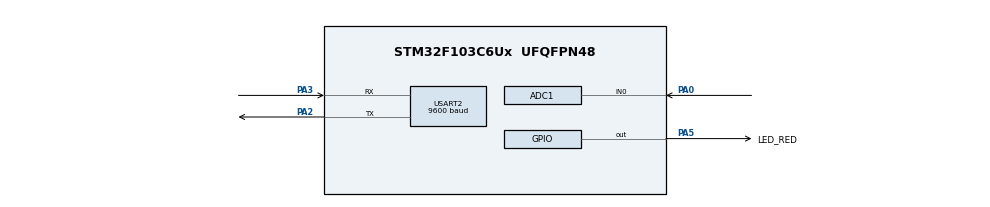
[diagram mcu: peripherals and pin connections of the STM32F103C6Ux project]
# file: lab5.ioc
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ADC1.Channel-0\#ChannelRegularConversion=ADC_CHANNEL_0
ADC1.ContinuousConvMode=ENABLE
ADC1.NbrOfConversionFlag=1
ADC1.Rank-0\#ChannelRegularConversion=1
ADC1.SamplingTime-0\#ChannelRegularConversion=ADC_SAMPLETIME_1CYCLE_5
ADC1.master=1
Mcu.Family=STM32F1
Mcu.Name=STM32F103C6Ux
Mcu.Package=UFQFPN48
NVIC.PriorityGroup=NVIC_PRIORITYGROUP_4
NVIC.TIM2_IRQn=true\:0\:0\:false\:false\:true\:true\:true
NVIC.USART2_IRQn=true\:0\:0\:false\:false\:true\:true\:true
PA0-WKUP.Signal=ADCx_IN0
PA2.Mode=Asynchronous
PA2.Signal=USART2_TX
PA3.Mode=Asynchronous
PA3.Signal=USART2_RX
PA5.GPIO_Label=LED_RED
PA5.Signal=GPIO_Output
ProjectManager.HeapSize=0x200
ProjectManager.StackSize=0x400
ProjectManager.TargetToolchain=STM32CubeIDE
RCC.APB1Freq_Value=8000000
RCC.APB2Freq_Value=8000000
SH.ADCx_IN0.0=ADC1_IN0,IN0
TIM2.Period=9
TIM2.Prescaler=7999
USART2.BaudRate=9600
USART2.VirtualMode=VM_ASYNC
VP_SYS_VS_ND.Mode=No_Debug
VP_TIM2_VS_ClockSourceINT.Mode=Internal
board=custom

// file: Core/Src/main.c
/* USER CODE BEGIN Header */
/**
  ******************************************************************************
  * @file           : main.c
  * @brief          : Main program body
  ******************************************************************************
  * @attention
  *
  * <h2><center>&copy; Copyright (c) 2022 STMicroelectronics.
  * All rights reserved.</center></h2>
  *
  * This software component is licensed by ST under BSD 3-Clause license,
  * the "License"; You may not use this file except in compliance with the
  * License. You may obtain a copy of the License at:
  *                        opensource.org/licenses/BSD-3-Clause
  *
  ******************************************************************************
  */
/* USER CODE END Header */
#include "main.h"

/* USER CODE BEGIN Includes */
#include "stdio.h"
#include "string.h"
#include "timer.h"
/* USER CODE END Includes */

ADC_HandleTypeDef hadc1;

TIM_HandleTypeDef htim2;

UART_HandleTypeDef huart2;

void SystemClock_Config(void);
static void MX_GPIO_Init(void);
static void MX_ADC1_Init(void);
static void MX_USART2_UART_Init(void);
static void MX_TIM2_Init(void);

/* USER CODE BEGIN 0 */
#define MAX_BUFFER_SIZE  30
uint8_t temp = 0;
uint8_t buffer[MAX_BUFFER_SIZE];
uint8_t index_buffer = 0;
uint8_t buffer_flag = 0;
#define INIT 0
#define BEGIN 1
#define R 2
#define S 3
#define T 4
#define O 9
#define K 6
#define END 7

int flag_RST = 0;
int flag_OK = 0;
uint32_t ADC_value = 0;
char str[40];
int state = INIT;
void HAL_UART_RxCpltCallback(UART_HandleTypeDef *huart){
	if(huart->Instance == USART2){

		//HAL_UART_Transmit(&huart2, &temp, 1, 50);
		buffer[index_buffer++] = temp;
		if(index_buffer == 30) index_buffer = 0;

		buffer_flag = 1;
		HAL_UART_Receive_IT(&huart2, &temp, 1);
	}
}

void command_parser_fsm(){
	switch (state){
		case INIT:
			if(temp == '!'){
				state = BEGIN;
			}
			break;
		case BEGIN:
			if(temp == 'R'){
				state = R;
			}else if(temp == 'O'){
				state = O;
			}else if(temp == '!'){
				state = BEGIN;
			}else{
				state = INIT;
			}
			break;
		case R:
			if(temp == 'S'){
				state = S;
			}else if(temp == '!'){
				state = BEGIN;
			}else{
				state = INIT;
			}
			break;
		case S:
			if(temp == 'T'){
				state = T;
			}else if(temp == '!'){
				state = BEGIN;
			}else{
				state = INIT;
			}
			break;
		case T:
			if(temp == '#'){
				flag_RST = 1;
				state = INIT;
			}else if(temp == '!'){
				state = BEGIN;
			}else{
				state = INIT;
			}
			break;
		case O:
			if(temp == 'K'){
				state = K;
			}else if(temp == '!'){
				state = BEGIN;
			}else{
				state = INIT;
			}
			break;
		case K:
			if(temp == '#'){
				flag_OK = 1;
				state = INIT;
			}else if(temp == '!'){
				state = BEGIN;
			}else{
				state = INIT;
			}
			break;
		default:
			break;
	}
}

void uart_communiation_fsm(){
	if(flag_OK){
		flag_OK = 0;
		flag_RST = 0;
	}
	if(flag_RST){
		ADC_value = HAL_ADC_GetValue(&hadc1);
		HAL_UART_Transmit(&huart2, (void *)str, sprintf(str, "!ADC=%ld\n#", ADC_value), 1000);
	}
}
/* USER CODE END 0 */

int main(void)
{

  /* MCU Configuration--------------------------------------------------------*/

  /* Reset of all peripherals, Initializes the Flash interface and the Systick. */
  HAL_Init();

  /* Configure the system clock */
  SystemClock_Config();

  /* Initialize all configured peripherals */
  MX_GPIO_Init();
  MX_ADC1_Init();
  MX_USART2_UART_Init();
  MX_TIM2_Init();
  /* USER CODE BEGIN 2 */
  HAL_ADC_Start(&hadc1);
  HAL_TIM_Base_Start_IT (& htim2 ) ;
  /* USER CODE END 2 */

  /* Infinite loop */
  /* USER CODE BEGIN WHILE */
  //uint32_t ADC_value = 0;
  HAL_UART_Receive_IT(&huart2, &temp, 1);
  setTimer1(1000);
  while (1)
  {
	    /*if(buffer_flag == 1){
	        command_parser_fsm();
	        buffer_flag = 0;
	    }
	    uart_communiation_fsm();*/
	  if(buffer_flag == 1){
	  	        command_parser_fsm();
	  	        buffer_flag = 0;
	  	    }
	  if(timer1_flag){
		  uart_communiation_fsm();
		  setTimer1(1000);
	  }
    /* USER CODE END WHILE */

  }
}

void SystemClock_Config(void)
{
  RCC_OscInitTypeDef RCC_OscInitStruct = {0};
  RCC_ClkInitTypeDef RCC_ClkInitStruct = {0};
  RCC_PeriphCLKInitTypeDef PeriphClkInit = {0};

  /** Initializes the RCC Oscillators according to the specified parameters
  * in the RCC_OscInitTypeDef structure.
  */
  RCC_OscInitStruct.OscillatorType = RCC_OSCILLATORTYPE_HSI;
  RCC_OscInitStruct.HSIState = RCC_HSI_ON;
  RCC_OscInitStruct.HSICalibrationValue = RCC_HSICALIBRATION_DEFAULT;
  RCC_OscInitStruct.PLL.PLLState = RCC_PLL_NONE;
  if (HAL_RCC_OscConfig(&RCC_OscInitStruct) != HAL_OK)
  {
    Error_Handler();
  }
  /** Initializes the CPU, AHB and APB buses clocks
  */
  RCC_ClkInitStruct.ClockType = RCC_CLOCKTYPE_HCLK|RCC_CLOCKTYPE_SYSCLK
                              |RCC_CLOCKTYPE_PCLK1|RCC_CLOCKTYPE_PCLK2;
  RCC_ClkInitStruct.SYSCLKSource = RCC_SYSCLKSOURCE_HSI;
  RCC_ClkInitStruct.AHBCLKDivider = RCC_SYSCLK_DIV1;
  RCC_ClkInitStruct.APB1CLKDivider = RCC_HCLK_DIV1;
  RCC_ClkInitStruct.APB2CLKDivider = RCC_HCLK_DIV1;

  if (HAL_RCC_ClockConfig(&RCC_ClkInitStruct, FLASH_LATENCY_0) != HAL_OK)
  {
    Error_Handler();
  }
  PeriphClkInit.PeriphClockSelection = RCC_PERIPHCLK_ADC;
  PeriphClkInit.AdcClockSelection = RCC_ADCPCLK2_DIV2;
  if (HAL_RCCEx_PeriphCLKConfig(&PeriphClkInit) != HAL_OK)
  {
    Error_Handler();
  }
}

static void MX_ADC1_Init(void)
{

  ADC_ChannelConfTypeDef sConfig = {0};

  /** Common config
  */
  hadc1.Instance = ADC1;
  hadc1.Init.ScanConvMode = ADC_SCAN_DISABLE;
  hadc1.Init.ContinuousConvMode = ENABLE;
  hadc1.Init.DiscontinuousConvMode = DISABLE;
  hadc1.Init.ExternalTrigConv = ADC_SOFTWARE_START;
  hadc1.Init.DataAlign = ADC_DATAALIGN_RIGHT;
  hadc1.Init.NbrOfConversion = 1;
  if (HAL_ADC_Init(&hadc1) != HAL_OK)
  {
    Error_Handler();
  }
  /** Configure Regular Channel
  */
  sConfig.Channel = ADC_CHANNEL_0;
  sConfig.Rank = ADC_REGULAR_RANK_1;
  sConfig.SamplingTime = ADC_SAMPLETIME_1CYCLE_5;
  if (HAL_ADC_ConfigChannel(&hadc1, &sConfig) != HAL_OK)
  {
    Error_Handler();
  }

}

static void MX_TIM2_Init(void)
{

  TIM_ClockConfigTypeDef sClockSourceConfig = {0};
  TIM_MasterConfigTypeDef sMasterConfig = {0};

  htim2.Instance = TIM2;
  htim2.Init.Prescaler = 7999;
  htim2.Init.CounterMode = TIM_COUNTERMODE_UP;
  htim2.Init.Period = 9;
  htim2.Init.ClockDivision = TIM_CLOCKDIVISION_DIV1;
  htim2.Init.AutoReloadPreload = TIM_AUTORELOAD_PRELOAD_DISABLE;
  if (HAL_TIM_Base_Init(&htim2) != HAL_OK)
  {
    Error_Handler();
  }
  sClockSourceConfig.ClockSource = TIM_CLOCKSOURCE_INTERNAL;
  if (HAL_TIM_ConfigClockSource(&htim2, &sClockSourceConfig) != HAL_OK)
  {
    Error_Handler();
  }
  sMasterConfig.MasterOutputTrigger = TIM_TRGO_RESET;
  sMasterConfig.MasterSlaveMode = TIM_MASTERSLAVEMODE_DISABLE;
  if (HAL_TIMEx_MasterConfigSynchronization(&htim2, &sMasterConfig) != HAL_OK)
  {
    Error_Handler();
  }

}

static void MX_USART2_UART_Init(void)
{

  huart2.Instance = USART2;
  huart2.Init.BaudRate = 9600;
  huart2.Init.WordLength = UART_WORDLENGTH_8B;
  huart2.Init.StopBits = UART_STOPBITS_1;
  huart2.Init.Parity = UART_PARITY_NONE;
  huart2.Init.Mode = UART_MODE_TX_RX;
  huart2.Init.HwFlowCtl = UART_HWCONTROL_NONE;
  huart2.Init.OverSampling = UART_OVERSAMPLING_16;
  if (HAL_UART_Init(&huart2) != HAL_OK)
  {
    Error_Handler();
  }

}

static void MX_GPIO_Init(void)
{
  GPIO_InitTypeDef GPIO_InitStruct = {0};

  /* GPIO Ports Clock Enable */
  __HAL_RCC_GPIOA_CLK_ENABLE();

  /*Configure GPIO pin Output Level */
  HAL_GPIO_WritePin(LED_RED_GPIO_Port, LED_RED_Pin, GPIO_PIN_RESET);

  /*Configure GPIO pin : LED_RED_Pin */
  GPIO_InitStruct.Pin = LED_RED_Pin;
  GPIO_InitStruct.Mode = GPIO_MODE_OUTPUT_PP;
  GPIO_InitStruct.Pull = GPIO_NOPULL;
  GPIO_InitStruct.Speed = GPIO_SPEED_FREQ_LOW;
  HAL_GPIO_Init(LED_RED_GPIO_Port, &GPIO_InitStruct);

}

/* USER CODE BEGIN 4 */
void HAL_TIM_PeriodElapsedCallback(TIM_HandleTypeDef *htim){
	timerRun();
}
/* USER CODE END 4 */

void Error_Handler(void)
{
  __disable_irq();
  while (1)
  {
  }
}

/************************ (C) COPYRIGHT STMicroelectronics *****END OF FILE****/
